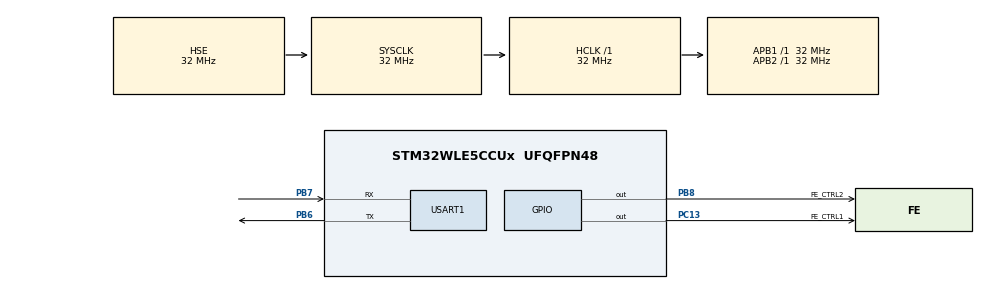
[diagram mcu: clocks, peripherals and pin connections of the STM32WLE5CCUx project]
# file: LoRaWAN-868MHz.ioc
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ADC.ClockPrescaler=ADC_CLOCK_SYNC_PCLK_DIV4
ADC.NbrOfConversion=1
ADC.Overrun=ADC_OVR_DATA_OVERWRITTEN
ADC.SamplingTimeCommon1=ADC_SAMPLETIME_160CYCLES_5
ADC.SamplingTimeCommon2=ADC_SAMPLETIME_160CYCLES_5
ADC.SelectedChannel=ADC_CHANNEL_TEMPSENSOR|ADC_CHANNEL_VREFINT
Dma.Request0=USART1_TX
Dma.USART1_TX.0.Direction=DMA_MEMORY_TO_PERIPH
Dma.USART1_TX.0.EventEnable=DISABLE
Dma.USART1_TX.0.Instance=DMA1_Channel1
Dma.USART1_TX.0.MemDataAlignment=DMA_MDATAALIGN_BYTE
Dma.USART1_TX.0.MemInc=DMA_MINC_ENABLE
Dma.USART1_TX.0.Mode=DMA_NORMAL
Dma.USART1_TX.0.PeriphDataAlignment=DMA_PDATAALIGN_BYTE
Dma.USART1_TX.0.PeriphInc=DMA_PINC_DISABLE
Dma.USART1_TX.0.Polarity=HAL_DMAMUX_REQ_GEN_RISING
Dma.USART1_TX.0.Priority=DMA_PRIORITY_LOW
Dma.USART1_TX.0.RequestNumber=1
Dma.USART1_TX.0.SignalID=NONE
Dma.USART1_TX.0.SyncEnable=DISABLE
Dma.USART1_TX.0.SyncPolarity=HAL_DMAMUX_SYNC_NO_EVENT
Dma.USART1_TX.0.SyncRequestNumber=1
Dma.USART1_TX.0.SyncSignalID=NONE
LORAWAN.Activate_DEBUG_LINE=false
LORAWAN.LOW_POWER_DISABLE=true
LoRaWAN.BSP.number=3
LoRaWAN0.BSP.STBoard=false
LoRaWAN0.BSP.api=Unknown
LoRaWAN0.BSP.instance=ADC
LoRaWAN0.BSP.ip=ADC
LoRaWAN0.BSP.mode=Vrefint Channel
LoRaWAN0.BSP.name=ADC
LoRaWAN0.BSP.solution=ADC
LoRaWAN1.BSP.STBoard=false
LoRaWAN1.BSP.api=Unknown
LoRaWAN1.BSP.instance=RTC
LoRaWAN1.BSP.ip=RTC
LoRaWAN1.BSP.mode=RTC Enabled
LoRaWAN1.BSP.name=RTC
LoRaWAN1.BSP.solution=RTC
LoRaWAN2.BSP.STBoard=false
LoRaWAN2.BSP.api=Unknown
LoRaWAN2.BSP.instance=USART1
LoRaWAN2.BSP.ip=(LPU|US)ART
LoRaWAN2.BSP.mode=Asynchronous
LoRaWAN2.BSP.name=USART
LoRaWAN2.BSP.solution=USART1
Mcu.Family=STM32WL
Mcu.Name=STM32WLE5CCUx
Mcu.Package=UFQFPN48
NVIC.DMA1_Channel1_IRQn=true\:0\:0\:false\:false\:true\:false\:true\:true
NVIC.PriorityGroup=NVIC_PRIORITYGROUP_4
NVIC.SUBGHZ_Radio_IRQn=true\:0\:0\:false\:false\:true\:true\:true\:true
NVIC.TAMP_STAMP_LSECSS_SSRU_IRQn=true\:0\:0\:false\:false\:true\:true\:true\:true
NVIC.TimeBase=None
NVIC.USART1_IRQn=true\:0\:0\:false\:false\:true\:false\:true\:true
OSC_IN.Mode=HSE-External-Oscillator
OSC_IN.Signal=RCC_OSC_IN
OSC_OUT.Mode=HSE-External-Oscillator
OSC_OUT.Signal=RCC_OSC_OUT
PB6.Mode=Asynchronous
PB6.Signal=USART1_TX
PB7.Mode=Asynchronous
PB7.Signal=USART1_RX
PB8.GPIO_Label=FE_CTRL2
PB8.Signal=GPIO_Output
PC13.GPIO_Label=FE_CTRL1
PC13.Signal=GPIO_Output
PC14-OSC32_IN.Mode=LSE-External-Oscillator
PC14-OSC32_IN.Signal=RCC_OSC32_IN
PC15-OSC32_OUT.Mode=LSE-External-Oscillator
PC15-OSC32_OUT.Signal=RCC_OSC32_OUT
ProjectManager.HeapSize=0x200
ProjectManager.StackSize=0x400
ProjectManager.TargetToolchain=STM32CubeIDE
RCC.AHBFreq_Value=32000000
RCC.APB1Freq_Value=32000000
RCC.APB1TimFreq_Value=32000000
RCC.APB2Freq_Value=32000000
RCC.APB2TimFreq_Value=32000000
RCC.APB3Freq_Value=32000000
RCC.CortexFreq_Value=32000000
RCC.HCLKFreq_Value=32000000
RCC.HSE_VALUE=32000000
RCC.HSI_VALUE=16000000
RCC.LSE_VALUE=32768
RCC.MSIClockRange=RCC_MSIRANGE_11
RCC.RTCClockSelection=RCC_RTCCLKSOURCE_LSE
RCC.SYSCLKFreq_VALUE=32000000
RCC.SYSCLKSource=RCC_SYSCLKSOURCE_HSE
RCC.VCOOutputFreq_Value=384000000
RTC.Alarm-Alarm\ A=RTC_ALARM_A
RTC.AsynchPrediv=127
RTC.BinMode=RTC_BINARY_ONLY
SUBGHZ.BaudratePrescaler=SUBGHZSPI_BAUDRATEPRESCALER_4
USART1.VirtualMode-Asynchronous=VM_ASYNC
VP_ADC_TempSens_Input.Mode=IN-TempSens
VP_ADC_Vref_Input.Mode=IN-Vrefint
VP_ADV_TRACE_VS_ADV_TRACE.Mode=ADV_TRACE_Enabled
VP_LORAWAN_VS_LoRaWAN.Mode=LoRaWAN_Enabled
VP_MISC_VS_MISC.Mode=MISC_Enabled
VP_RNG_VS_RNG.Mode=RNG_Activate
VP_RTC_VS_RTC_Activate.Mode=RTC_Enabled
VP_RTC_VS_RTC_Alarm_A_Intern.Mode=Alarm A
VP_RTC_VS_RTC_Calendar.Mode=RTC_Calendar
VP_RTC_VS_RTC_WakeUp_intern.Mode=WakeUp
VP_SEQUENCER_VS_SEQUENCER.Mode=SEQUENCER_Enabled
VP_SUBGHZ_VS_SUBGHZ.Mode=SUBGHZ_Activate
VP_TIMER_VS_TIMER.Mode=TIMER_Enabled
VP_TINY_LPM_VS_TINY_LPM.Mode=TINY_LPM_Enabled
board=custom

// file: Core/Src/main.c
/* USER CODE BEGIN Header */
/**
  ******************************************************************************
  * @file           : main.c
  * @brief          : Main program body
  ******************************************************************************
  * @attention
  *
  * Copyright (c) 2026 STMicroelectronics.
  * All rights reserved.
  *
  * This software is licensed under terms that can be found in the LICENSE file
  * in the root directory of this software component.
  * If no LICENSE file comes with this software, it is provided AS-IS.
  *
  ******************************************************************************
  */
/* USER CODE END Header */
#include "main.h"
#include "app_lorawan.h"

/* USER CODE BEGIN Includes */
#include "sys_app.h"
/* USER CODE END Includes */

ADC_HandleTypeDef hadc;

RNG_HandleTypeDef hrng;

RTC_HandleTypeDef hrtc;

SUBGHZ_HandleTypeDef hsubghz;

UART_HandleTypeDef huart1;
DMA_HandleTypeDef hdma_usart1_tx;

/* USER CODE BEGIN PV */
uint8_t lse_available = 0;
/* USER CODE END PV */

void SystemClock_Config(void);
static void MX_GPIO_Init(void);
static void MX_RNG_Init(void);

/* USER CODE BEGIN 0 */

#define IIS2MDC_ADDR      0x1E
#define IIS2MDC_CFG_REG_A 0x60
#define IIS2MDC_CFG_REG_C 0x62
#define IIS2MDC_OUTX_L    0x68

#define AHT20_ADDR        0x38

static int I2C1_WaitFlag(uint32_t flag, uint32_t timeout_ms)
{
  uint32_t t = HAL_GetTick() + timeout_ms;
  while (!(I2C1->ISR & flag))
  {
    if (I2C1->ISR & I2C_ISR_NACKF)
    {
      I2C1->ICR = I2C_ICR_NACKCF;
      return -1;
    }
    if (HAL_GetTick() > t) return -1;
  }
  return 0;
}

static void I2C1_Init(void)
{
  __HAL_RCC_GPIOA_CLK_ENABLE();
  GPIO_InitTypeDef gpio = {0};
  gpio.Pin = GPIO_PIN_9 | GPIO_PIN_10;
  gpio.Mode = GPIO_MODE_AF_OD;
  gpio.Pull = GPIO_PULLUP;
  gpio.Speed = GPIO_SPEED_FREQ_LOW;
  gpio.Alternate = GPIO_AF4_I2C1;
  HAL_GPIO_Init(GPIOA, &gpio);

  __HAL_RCC_I2C1_CLK_ENABLE();
  I2C1->CR1 &= ~I2C_CR1_PE;
  I2C1->TIMINGR = 0x00707CBB;
  I2C1->OAR1 = 0;
  I2C1->OAR2 = 0;
  I2C1->CR1 = I2C_CR1_PE;
}

static int I2C1_WriteReg(uint8_t addr, uint8_t reg, uint8_t *data, uint16_t len)
{
  uint32_t t = HAL_GetTick() + 100;
  while (I2C1->ISR & I2C_ISR_BUSY) { if (HAL_GetTick() > t) return -1; }

  I2C1->CR2 = (addr << 1) | (((uint32_t)(len + 1)) << I2C_CR2_NBYTES_Pos)
              | I2C_CR2_AUTOEND | I2C_CR2_START;

  if (I2C1_WaitFlag(I2C_ISR_TXIS, 100) != 0) return -1;
  I2C1->TXDR = reg;

  for (uint16_t i = 0; i < len; i++)
  {
    if (I2C1_WaitFlag(I2C_ISR_TXIS, 100) != 0) return -1;
    I2C1->TXDR = data[i];
  }

  if (I2C1_WaitFlag(I2C_ISR_STOPF, 100) != 0) return -1;
  I2C1->ICR = I2C_ICR_STOPCF;
  return 0;
}

static int I2C1_ReadReg(uint8_t addr, uint8_t reg, uint8_t *data, uint16_t len)
{
  uint32_t t = HAL_GetTick() + 100;
  while (I2C1->ISR & I2C_ISR_BUSY) { if (HAL_GetTick() > t) return -1; }

  I2C1->CR2 = (addr << 1) | (1U << I2C_CR2_NBYTES_Pos) | I2C_CR2_START;
  if (I2C1_WaitFlag(I2C_ISR_TXIS, 100) != 0) return -1;
  I2C1->TXDR = reg;
  if (I2C1_WaitFlag(I2C_ISR_TC, 100) != 0) return -1;

  I2C1->CR2 = (addr << 1) | I2C_CR2_RD_WRN
              | (((uint32_t)len) << I2C_CR2_NBYTES_Pos)
              | I2C_CR2_AUTOEND | I2C_CR2_START;

  for (uint16_t i = 0; i < len; i++)
  {
    if (I2C1_WaitFlag(I2C_ISR_RXNE, 100) != 0) return -1;
    data[i] = (uint8_t)I2C1->RXDR;
  }

  if (I2C1_WaitFlag(I2C_ISR_STOPF, 100) != 0) return -1;
  I2C1->ICR = I2C_ICR_STOPCF;
  return 0;
}

static int I2C1_WriteBytes(uint8_t addr, uint8_t *data, uint16_t len)
{
  uint32_t t = HAL_GetTick() + 100;
  while (I2C1->ISR & I2C_ISR_BUSY) { if (HAL_GetTick() > t) return -1; }

  I2C1->CR2 = (addr << 1) | (((uint32_t)len) << I2C_CR2_NBYTES_Pos)
              | I2C_CR2_AUTOEND | I2C_CR2_START;

  for (uint16_t i = 0; i < len; i++)
  {
    if (I2C1_WaitFlag(I2C_ISR_TXIS, 100) != 0) return -1;
    I2C1->TXDR = data[i];
  }

  if (I2C1_WaitFlag(I2C_ISR_STOPF, 100) != 0) return -1;
  I2C1->ICR = I2C_ICR_STOPCF;
  return 0;
}

static int I2C1_ReadBytes(uint8_t addr, uint8_t *data, uint16_t len)
{
  uint32_t t = HAL_GetTick() + 100;
  while (I2C1->ISR & I2C_ISR_BUSY) { if (HAL_GetTick() > t) return -1; }

  I2C1->CR2 = (addr << 1) | I2C_CR2_RD_WRN
              | (((uint32_t)len) << I2C_CR2_NBYTES_Pos)
              | I2C_CR2_AUTOEND | I2C_CR2_START;

  for (uint16_t i = 0; i < len; i++)
  {
    if (I2C1_WaitFlag(I2C_ISR_RXNE, 100) != 0) return -1;
    data[i] = (uint8_t)I2C1->RXDR;
  }

  if (I2C1_WaitFlag(I2C_ISR_STOPF, 100) != 0) return -1;
  I2C1->ICR = I2C_ICR_STOPCF;
  return 0;
}

void IIS2MDC_Init(void)
{
  uint8_t val = 0x00;
  I2C1_WriteReg(IIS2MDC_ADDR, IIS2MDC_CFG_REG_A, &val, 1);
  val = 0x10;
  I2C1_WriteReg(IIS2MDC_ADDR, IIS2MDC_CFG_REG_C, &val, 1);
}

void IIS2MDC_Read(int16_t *x, int16_t *y, int16_t *z)
{
  uint8_t buf[6] = {0};
  I2C1_ReadReg(IIS2MDC_ADDR, IIS2MDC_OUTX_L, buf, 6);
  *x = (int16_t)((uint16_t)buf[1] << 8 | buf[0]);
  *y = (int16_t)((uint16_t)buf[3] << 8 | buf[2]);
  *z = (int16_t)((uint16_t)buf[5] << 8 | buf[4]);
}

void AHT20_Init(void)
{
  HAL_Delay(40);
  uint8_t cmd[3] = {0xBE, 0x08, 0x00};
  I2C1_WriteBytes(AHT20_ADDR, cmd, 3);
  HAL_Delay(10);
}

int16_t AHT20_ReadTemp_x10(void)
{
  uint8_t cmd[3] = {0xAC, 0x33, 0x00};
  I2C1_WriteBytes(AHT20_ADDR, cmd, 3);
  HAL_Delay(80);

  uint8_t data[7] = {0};
  I2C1_ReadBytes(AHT20_ADDR, data, 7);
  if (data[0] & 0x80)
  {
    HAL_Delay(80);
    I2C1_ReadBytes(AHT20_ADDR, data, 7);
  }

  uint32_t raw = ((uint32_t)(data[3] & 0x0F) << 16)
                 | ((uint32_t)data[4] << 8) | data[5];
  return (int16_t)((raw * 2000UL) / 1048576UL) - 500;
}

uint8_t LDR_ReadLevel(void)
{
  ADC_ChannelConfTypeDef sConfig = {0};
  MX_ADC_Init();
  if (HAL_ADCEx_Calibration_Start(&hadc) != HAL_OK) return 0;

  sConfig.Channel = ADC_CHANNEL_3;
  sConfig.Rank = ADC_REGULAR_RANK_1;
  sConfig.SamplingTime = ADC_SAMPLINGTIME_COMMON_1;
  if (HAL_ADC_ConfigChannel(&hadc, &sConfig) != HAL_OK) return 0;
  if (HAL_ADC_Start(&hadc) != HAL_OK) return 0;

  HAL_ADC_PollForConversion(&hadc, HAL_MAX_DELAY);
  HAL_ADC_Stop(&hadc);
  uint32_t raw = HAL_ADC_GetValue(&hadc);
  HAL_ADC_DeInit(&hadc);

  return (uint8_t)(raw * 100 / 4095);
}

uint8_t Button_IsPressed(void)
{
  return (HAL_GPIO_ReadPin(GPIOA, GPIO_PIN_0) == GPIO_PIN_RESET) ? 1 : 0;
}

/* USER CODE END 0 */

int main(void)
{

  /* MCU Configuration--------------------------------------------------------*/

  /* Reset of all peripherals, Initializes the Flash interface and the Systick. */
  HAL_Init();

  /* Configure the system clock */
  SystemClock_Config();

  /* Initialize all configured peripherals */
  MX_GPIO_Init();
  MX_DMA_Init();
  MX_ADC_Init();
  MX_RNG_Init();
  MX_RTC_Init();
  MX_USART1_UART_Init();
  MX_SUBGHZ_Init();
  MX_LoRaWAN_Init();
  /* USER CODE BEGIN 2 */
  I2C1_Init();
  IIS2MDC_Init();
  AHT20_Init();
  APP_LOG(TS_OFF, VLEVEL_L, "Sensors initialized (IIS2MDC, AHT20, Button, LDR)\r\n");
  /* USER CODE END 2 */

  /* Infinite loop */
  while (1)
  {
    MX_LoRaWAN_Process();

  }
}

void SystemClock_Config(void)
{
  RCC_OscInitTypeDef RCC_OscInitStruct = {0};
  RCC_ClkInitTypeDef RCC_ClkInitStruct = {0};

  /** Configure LSE Drive Capability
  */
  HAL_PWR_EnableBkUpAccess();
  __HAL_RCC_LSEDRIVE_CONFIG(RCC_LSEDRIVE_HIGH);

  /** Configure the main internal regulator output voltage
  */
  __HAL_PWR_VOLTAGESCALING_CONFIG(PWR_REGULATOR_VOLTAGE_SCALE1);

  /** Initializes the CPU, AHB and APB buses clocks
  */
  /* Try with LSE first */
  RCC_OscInitStruct.OscillatorType = RCC_OSCILLATORTYPE_LSI|RCC_OSCILLATORTYPE_HSE
                              |RCC_OSCILLATORTYPE_LSE;
  RCC_OscInitStruct.HSEState = RCC_HSE_ON;
  RCC_OscInitStruct.LSEState = RCC_LSE_ON;
  RCC_OscInitStruct.LSIDiv = RCC_LSI_DIV1;
  RCC_OscInitStruct.HSEDiv = RCC_HSE_DIV1;
  RCC_OscInitStruct.LSIState = RCC_LSI_ON;
  RCC_OscInitStruct.PLL.PLLState = RCC_PLL_NONE;
  if (HAL_RCC_OscConfig(&RCC_OscInitStruct) != HAL_OK)
  {
    /* LSE failed to start — fallback without LSE */
    RCC_OscInitStruct.OscillatorType = RCC_OSCILLATORTYPE_LSI|RCC_OSCILLATORTYPE_HSE;
    RCC_OscInitStruct.HSEState = RCC_HSE_ON;
    RCC_OscInitStruct.LSEState = RCC_LSE_OFF;
    RCC_OscInitStruct.LSIDiv = RCC_LSI_DIV1;
    RCC_OscInitStruct.HSEDiv = RCC_HSE_DIV1;
    RCC_OscInitStruct.LSIState = RCC_LSI_ON;
    RCC_OscInitStruct.PLL.PLLState = RCC_PLL_NONE;
    if (HAL_RCC_OscConfig(&RCC_OscInitStruct) != HAL_OK)
    {
      HAL_UART_Transmit(&huart1, (uint8_t*)"Place1: OscConfig fallback\r\n", 27, 100);
      Error_Handler();
    }
    lse_available = 0;
  }
  else
  {
    lse_available = 1;
  }

  /** Configure the SYSCLKSource, HCLK, PCLK1 and PCLK2 clocks dividers
  */
  RCC_ClkInitStruct.ClockType = RCC_CLOCKTYPE_HCLK3|RCC_CLOCKTYPE_HCLK
                              |RCC_CLOCKTYPE_SYSCLK|RCC_CLOCKTYPE_PCLK1
                              |RCC_CLOCKTYPE_PCLK2;
  RCC_ClkInitStruct.SYSCLKSource = RCC_SYSCLKSOURCE_HSE;
  RCC_ClkInitStruct.AHBCLKDivider = RCC_SYSCLK_DIV1;
  RCC_ClkInitStruct.APB1CLKDivider = RCC_HCLK_DIV1;
  RCC_ClkInitStruct.APB2CLKDivider = RCC_HCLK_DIV1;
  RCC_ClkInitStruct.AHBCLK3Divider = RCC_SYSCLK_DIV1;

  if (HAL_RCC_ClockConfig(&RCC_ClkInitStruct, FLASH_LATENCY_1) != HAL_OK)
  {
    HAL_UART_Transmit(&huart1, (uint8_t*)"Place2: ClockConfig\r\n", 21, 100);
    Error_Handler();
  }
}

void MX_ADC_Init(void)
{

  /** Configure the global features of the ADC (Clock, Resolution, Data Alignment and number of conversion)
  */
  hadc.Instance = ADC;
  hadc.Init.ClockPrescaler = ADC_CLOCK_SYNC_PCLK_DIV4;
  hadc.Init.Resolution = ADC_RESOLUTION_12B;
  hadc.Init.DataAlign = ADC_DATAALIGN_RIGHT;
  hadc.Init.ScanConvMode = ADC_SCAN_DISABLE;
  hadc.Init.EOCSelection = ADC_EOC_SINGLE_CONV;
  hadc.Init.LowPowerAutoWait = DISABLE;
  hadc.Init.LowPowerAutoPowerOff = DISABLE;
  hadc.Init.ContinuousConvMode = DISABLE;
  hadc.Init.NbrOfConversion = 1;
  hadc.Init.DiscontinuousConvMode = DISABLE;
  hadc.Init.ExternalTrigConv = ADC_SOFTWARE_START;
  hadc.Init.ExternalTrigConvEdge = ADC_EXTERNALTRIGCONVEDGE_NONE;
  hadc.Init.DMAContinuousRequests = DISABLE;
  hadc.Init.Overrun = ADC_OVR_DATA_OVERWRITTEN;
  hadc.Init.SamplingTimeCommon1 = ADC_SAMPLETIME_160CYCLES_5;
  hadc.Init.SamplingTimeCommon2 = ADC_SAMPLETIME_160CYCLES_5;
  hadc.Init.OversamplingMode = DISABLE;
  hadc.Init.TriggerFrequencyMode = ADC_TRIGGER_FREQ_HIGH;
  if (HAL_ADC_Init(&hadc) != HAL_OK)
  {
    HAL_UART_Transmit(&huart1, (uint8_t*)"Place3: ADC_Init\r\n", 18, 100);
    Error_Handler();
  }

}

static void MX_RNG_Init(void)
{

  hrng.Instance = RNG;
  hrng.Init.ClockErrorDetection = RNG_CED_DISABLE;
  if (HAL_RNG_Init(&hrng) != HAL_OK)
  {
    HAL_UART_Transmit(&huart1, (uint8_t*)"Place4: RNG_Init\r\n", 18, 100);
    Error_Handler();
  }

}

void MX_RTC_Init(void)
{

  RTC_AlarmTypeDef sAlarm = {0};

  /** Initialize RTC Only
  */
  hrtc.Instance = RTC;
  hrtc.Init.AsynchPrediv = RTC_PREDIV_A; /* = 127 in binary-only mode (HAL does not reprogram PRER) */
  hrtc.Init.OutPut = RTC_OUTPUT_DISABLE;
  hrtc.Init.OutPutRemap = RTC_OUTPUT_REMAP_NONE;
  hrtc.Init.OutPutPolarity = RTC_OUTPUT_POLARITY_HIGH;
  hrtc.Init.OutPutType = RTC_OUTPUT_TYPE_OPENDRAIN;
  hrtc.Init.OutPutPullUp = RTC_OUTPUT_PULLUP_NONE;
  hrtc.Init.BinMode = RTC_BINARY_ONLY;
  if (HAL_RTC_Init(&hrtc) != HAL_OK)
  {
    HAL_UART_Transmit(&huart1, (uint8_t*)"Place5: RTC_Init\r\n", 18, 100);
    Error_Handler();
  }

  /** Initialize RTC and set the Time and Date
  */
  if (HAL_RTCEx_SetSSRU_IT(&hrtc) != HAL_OK)
  {
    HAL_UART_Transmit(&huart1, (uint8_t*)"Place6: SSRU_IT\r\n", 17, 100);
    Error_Handler();
  }

  /** Enable the Alarm A
  */
  sAlarm.BinaryAutoClr = RTC_ALARMSUBSECONDBIN_AUTOCLR_YES;
  sAlarm.AlarmTime.SubSeconds = 0x0;
  sAlarm.AlarmMask = RTC_ALARMMASK_NONE;
  sAlarm.AlarmSubSecondMask = RTC_ALARMSUBSECONDBINMASK_NONE;
  sAlarm.Alarm = RTC_ALARM_A;
  if (HAL_RTC_SetAlarm(&hrtc, &sAlarm, 0) != HAL_OK)
  {
    HAL_UART_Transmit(&huart1, (uint8_t*)"Place7: RTC_SetAlarm\r\n", 22, 100);
    Error_Handler();
  }

  /** Enable the WakeUp
  */
  if (HAL_RTCEx_SetWakeUpTimer(&hrtc, 0, RTC_WAKEUPCLOCK_RTCCLK_DIV16) != HAL_OK)
  {
    HAL_UART_Transmit(&huart1, (uint8_t*)"Place8: WakeUpTimer\r\n", 21, 100);
    Error_Handler();
  }

}

void MX_SUBGHZ_Init(void)
{

  /* USER CODE BEGIN SUBGHZ_Init 0 */
  static uint8_t already_init = 0;
  if (already_init)
  {
    /* Already initialized — skip to avoid double-init HAL error */
    return;
  }
  /* USER CODE END SUBGHZ_Init 0 */

  hsubghz.Init.BaudratePrescaler = SUBGHZSPI_BAUDRATEPRESCALER_4;
  if (HAL_SUBGHZ_Init(&hsubghz) != HAL_OK)
  {
    HAL_UART_Transmit(&huart1, (uint8_t*)"Place9: SUBGHZ_Init\r\n", 21, 100);
    Error_Handler();
  }
  /* USER CODE BEGIN SUBGHZ_Init 2 */
  already_init = 1;
  /* USER CODE END SUBGHZ_Init 2 */

}

void MX_USART1_UART_Init(void)
{

  huart1.Instance = USART1;
  huart1.Init.BaudRate = 115200;
  huart1.Init.WordLength = UART_WORDLENGTH_8B;
  huart1.Init.StopBits = UART_STOPBITS_1;
  huart1.Init.Parity = UART_PARITY_NONE;
  huart1.Init.Mode = UART_MODE_TX_RX;
  huart1.Init.HwFlowCtl = UART_HWCONTROL_NONE;
  huart1.Init.OverSampling = UART_OVERSAMPLING_16;
  huart1.Init.OneBitSampling = UART_ONE_BIT_SAMPLE_DISABLE;
  huart1.Init.ClockPrescaler = UART_PRESCALER_DIV1;
  huart1.AdvancedInit.AdvFeatureInit = UART_ADVFEATURE_NO_INIT;
  if (HAL_UART_Init(&huart1) != HAL_OK)
  {
    HAL_UART_Transmit(&huart1, (uint8_t*)"Place10: UART_Init\r\n", 20, 100);
    Error_Handler();
  }
  if (HAL_UARTEx_SetTxFifoThreshold(&huart1, UART_TXFIFO_THRESHOLD_1_8) != HAL_OK)
  {
    HAL_UART_Transmit(&huart1, (uint8_t*)"Place11: TxFifo\r\n", 17, 100);
    Error_Handler();
  }
  if (HAL_UARTEx_SetRxFifoThreshold(&huart1, UART_RXFIFO_THRESHOLD_1_8) != HAL_OK)
  {
    HAL_UART_Transmit(&huart1, (uint8_t*)"Place12: RxFifo\r\n", 17, 100);
    Error_Handler();
  }
  if (HAL_UARTEx_DisableFifoMode(&huart1) != HAL_OK)
  {
    HAL_UART_Transmit(&huart1, (uint8_t*)"Place13: DisableFifo\r\n", 22, 100);
    Error_Handler();
  }

}

void MX_DMA_Init(void)
{

  /* DMA controller clock enable */
  __HAL_RCC_DMAMUX1_CLK_ENABLE();
  __HAL_RCC_DMA1_CLK_ENABLE();

  /* DMA interrupt init */
  /* DMA1_Channel1_IRQn interrupt configuration */
  HAL_NVIC_SetPriority(DMA1_Channel1_IRQn, 0, 0);
  HAL_NVIC_EnableIRQ(DMA1_Channel1_IRQn);

}

static void MX_GPIO_Init(void)
{
  GPIO_InitTypeDef GPIO_InitStruct = {0};

  /* GPIO Ports Clock Enable */
  __HAL_RCC_GPIOA_CLK_ENABLE();
  __HAL_RCC_GPIOB_CLK_ENABLE();
  __HAL_RCC_GPIOC_CLK_ENABLE();

  /*Configure GPIO pin Output Level */
  HAL_GPIO_WritePin(FE_CTRL2_GPIO_Port, FE_CTRL2_Pin, GPIO_PIN_RESET);

  /*Configure GPIO pin Output Level */
  HAL_GPIO_WritePin(FE_CTRL1_GPIO_Port, FE_CTRL1_Pin, GPIO_PIN_RESET);

  /*Configure GPIO pin : FE_CTRL2_Pin */
  GPIO_InitStruct.Pin = FE_CTRL2_Pin;
  GPIO_InitStruct.Mode = GPIO_MODE_OUTPUT_PP;
  GPIO_InitStruct.Pull = GPIO_NOPULL;
  GPIO_InitStruct.Speed = GPIO_SPEED_FREQ_LOW;
  HAL_GPIO_Init(FE_CTRL2_GPIO_Port, &GPIO_InitStruct);

  /*Configure GPIO pin : FE_CTRL1_Pin */
  GPIO_InitStruct.Pin = FE_CTRL1_Pin;
  GPIO_InitStruct.Mode = GPIO_MODE_OUTPUT_PP;
  GPIO_InitStruct.Pull = GPIO_NOPULL;
  GPIO_InitStruct.Speed = GPIO_SPEED_FREQ_LOW;
  HAL_GPIO_Init(FE_CTRL1_GPIO_Port, &GPIO_InitStruct);

  /* USER CODE BEGIN MX_GPIO_Init_2 */

  /*Configure GPIO pin : PA0 (Button, active LOW with pull-up) */
  GPIO_InitStruct.Pin = GPIO_PIN_0;
  GPIO_InitStruct.Mode = GPIO_MODE_INPUT;
  GPIO_InitStruct.Pull = GPIO_PULLUP;
  HAL_GPIO_Init(GPIOA, &GPIO_InitStruct);

  /*Configure GPIO pin : PB4 (LDR ADC_IN3, analog) */
  GPIO_InitStruct.Pin = GPIO_PIN_4;
  GPIO_InitStruct.Mode = GPIO_MODE_ANALOG;
  GPIO_InitStruct.Pull = GPIO_NOPULL;
  HAL_GPIO_Init(GPIOB, &GPIO_InitStruct);

  /*Configure GPIO pin : PB12 (output LOW) */
  HAL_GPIO_WritePin(GPIOB, GPIO_PIN_12, GPIO_PIN_RESET);
  GPIO_InitStruct.Pin = GPIO_PIN_12;
  GPIO_InitStruct.Mode = GPIO_MODE_OUTPUT_PP;
  GPIO_InitStruct.Pull = GPIO_NOPULL;
  GPIO_InitStruct.Speed = GPIO_SPEED_FREQ_LOW;
  HAL_GPIO_Init(GPIOB, &GPIO_InitStruct);

  /* USER CODE END MX_GPIO_Init_2 */
}

void Error_Handler(void)
{
  /* USER CODE BEGIN Error_Handler_Debug */
  /* Print error using polling (DMA won't work after __disable_irq) */
  const char err_msg[] = "\r\n!!! Error_Handler called !!!\r\n";
  HAL_UART_Transmit(&huart1, (uint8_t*)err_msg, sizeof(err_msg)-1, 1000);
  __disable_irq();
  while (1)
  {
  }
  /* USER CODE END Error_Handler_Debug */
}
